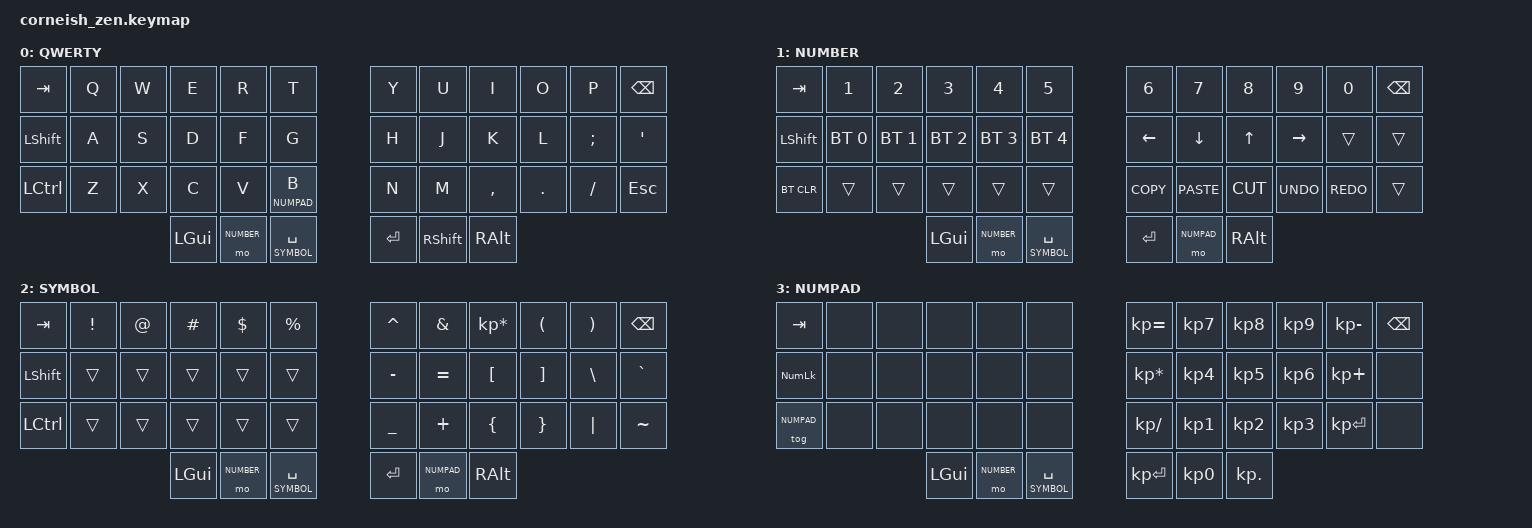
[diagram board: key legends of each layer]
#include <behaviors.dtsi>
#include <dt-bindings/zmk/keys.h>
#include <dt-bindings/zmk/bt.h>

#define QWERTY 0
#define NUMBER 1
#define SYMBOL 2
#define NUMPAD 3

/ {
  chosen {
    zmk,matrix_transform = &default_transform;
    //zmk,matrix_transform = &five_column_transform;
  };
};

/ {
        keymap {
                compatible = "zmk,keymap";

                default_layer {
                        label = "QWERTY";
// -----------------------------------------------------------------------------------------
// |  TAB |  Q  |  W  |  E  |  R  |  T      |    |  Y  |  U    |  I  |  O  |  P  | BKSP |
// | SHFT |  A  |  S  |  D  |  F  |  G      |    |  H  |  J    |  K  |  L  |  ;  |  '   |
// | CTRL |  Z  |  X  |  C  |  V  | NUMPAD/B|    |  N  |  M    |  ,  |  .  |  /  | ESC  |
//                    | GUI | NUM | SYM/SPC |    | ENT | NUPAD | ALT |
                        bindings = <
   &kp TAB   &kp Q &kp W &kp E &kp R &kp T         &kp Y &kp U  &kp I     &kp O   &kp P    &kp BSPC
   &kp LSHFT &kp A &kp S &kp D &kp F &kp G         &kp H &kp J  &kp K     &kp L   &kp SEMI &kp SQT
   &kp LCTRL &kp Z &kp X &kp C &kp V &lt NUMPAD B  &kp N &kp M  &kp COMMA &kp DOT &kp FSLH &kp ESC
      &kp LGUI &mo NUMBER &lt SYMBOL SPACE         &kp RET &kp RSHFT &kp RALT
                        >;
                };
                lower_layer {
                        label = "NUMBER";
// -----------------------------------------------------------------------------------------
// |  TAB  |  1  |  2  |  3  |  4  |  5      |   |  6  |  7     |  8   |  9  |  0  | BKSP |
// | SHFT  | BT1 | BT2 | BT3 | BT4 | BT5     |   | LFT | DWN    |  UP  | RGT |     |      |
// | BTCLR |     |     |     |     |         |   | COPY| PASTE  | CUT  |UNDO |REDO |      |
//                    | GUI | NUM | SYM/SPC |   | ENT | NUPAD  | ALT |
                        bindings = <
   &kp TAB    &kp N1       &kp N2       &kp N3       &kp N4       &kp N5         &kp N6      &kp N7      &kp N8    &kp N9     &kp N0     &kp BSPC
   &kp LSHFT &bt BT_SEL 0 &bt BT_SEL 1 &bt BT_SEL 2 &bt BT_SEL 3 &bt BT_SEL 4   &kp LEFT    &kp DOWN    &kp UP    &kp RIGHT  &trans     &trans
   &bt BT_CLR  &trans       &trans       &trans       &trans       &trans         &kp K_COPY  &kp K_PASTE &kp K_CUT &kp K_UNDO &kp K_REDO &trans
      &kp LGUI &mo NUMBER &lt SYMBOL SPACE     &kp RET &mo NUMPAD &kp RALT
                        >;
                };

                raise_layer {
                        label = "SYMBOL";
// -----------------------------------------------------------------------------------------
// |  TAB |  !  |  @  |  #  |  $  |  %      |   |  ^  |  &    |  *  |  (  |  )  | BKSP |
// | SHFT |     |     |     |     |         |   |  -  |  =    |  [  |  ]  |  \  |  `   |
// | CTRL |     |     |     |     |         |   |  _  |  +    |  {  |  }  | "|" |  ~   |
//                    | GUI | NUM | SYM/SPC |   | ENT | NUPAD | ALT |
                        bindings = <
   &kp  TAB  &kp EXCL &kp AT &kp HASH &kp DLLR &kp PRCNT   &kp CARET &kp AMPS  &kp KP_MULTIPLY &kp LPAR &kp RPAR &kp BSPC
   &kp LSHFT &trans   &trans &trans     &trans   &trans      &kp MINUS &kp EQUAL &kp LBKT        &kp RBKT &kp BSLH &kp GRAVE
   &kp LCTRL &trans   &trans &trans   &trans   &trans      &kp UNDER &kp PLUS  &kp LBRC        &kp RBRC &kp PIPE &kp TILDE
      &kp LGUI &mo NUMBER &lt SYMBOL SPACE     &kp RET &mo NUMPAD &kp RALT
                        >;
                };

                 numpad_layer {
                        label = "NUMPAD";
// -----------------------------------------------------------------------------------------
// |  TAB |     |     |     |     |         |   |  =  |  7  |  8  |  9  |  -  | BKSP |
// | NLCK |     |     |     |     |         |   |  *  |  4  |  5  |  6  |  +  |      |
// | NUPAD|     |     |     |     |         |   |  /  |  1  |  2  |  3  | ENT |      |
//                    | GUI | NUM | SYM/SPC |   | ENT |  0  |  .  |

                        bindings = <
   &kp TAB     &none &none &none &none &none    &kp KP_EQUAL    &kp KP_N7 &kp KP_N8 &kp KP_N9 &kp KP_MINUS &kp BSPC
   &kp KP_NLCK &none &none &none &none &none    &kp KP_ASTERISK &kp KP_N4 &kp KP_N5 &kp KP_N6 &kp KP_PLUS  &none
   &tog NUMPAD &none &none &none &none &none    &kp KP_SLASH    &kp KP_N1 &kp KP_N2 &kp KP_N3 &kp KP_ENTER &none
        &kp LGUI &mo NUMBER &lt SYMBOL SPACE    &kp KP_ENTER &kp KP_N0 &kp KP_DOT
                        >;
                };
        };
};
